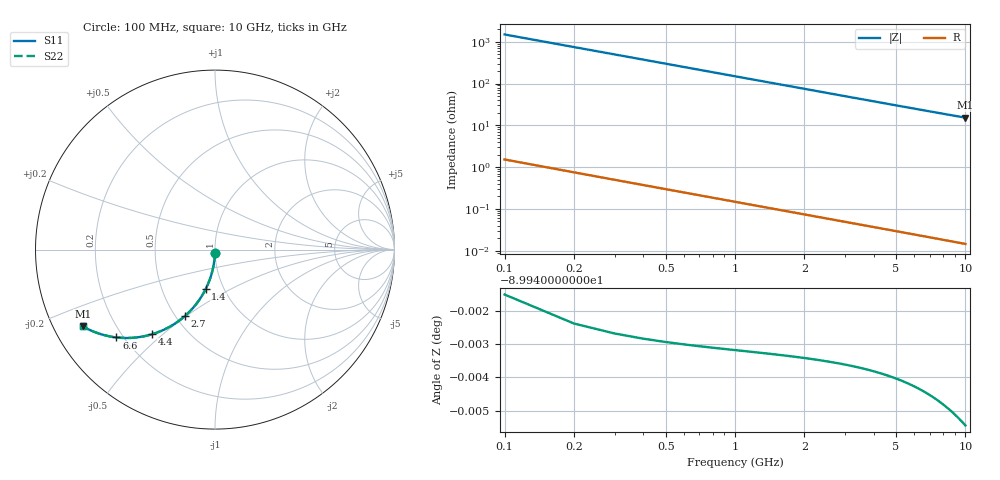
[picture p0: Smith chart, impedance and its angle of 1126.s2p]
# Hz S RI R 50.00
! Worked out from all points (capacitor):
!   100 points, 100 MHz to 10 GHz, reference 50 ohm
!   read as one part in shunt: C = 1.07 pF near 100 MHz
!   lowest |Z| = 15.2 ohm at 10 GHz (marker M1)
!   S11 on the Smith chart (normalised r, x): 100 MHz: 1.00, -0.03; 1.4 GHz: 0.82, -0.38; 2.7 GHz: 0.55, -0.49; 4.4 GHz: 0.32, -0.46; 6.6 GHz: 0.17, -0.37; 10 GHz: 0.09, -0.27
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1e8  -0.000276 -0.0166  0.9997 -0.0169  0.9997 -0.0169  -0.000276 -0.0166
2e8  -0.00113 -0.0332  0.9988 -0.0337  0.9988 -0.0337  -0.00113 -0.0332
3e8  -0.00255 -0.0498  0.9974 -0.0505  0.9974 -0.0505  -0.00255 -0.0498
4e8  -0.00452 -0.0663  0.9954 -0.0672  0.9954 -0.0672  -0.00452 -0.0663
5e8  -0.00703 -0.0826  0.9929 -0.0838  0.9929 -0.0838  -0.00703 -0.0826
6e8  -0.0101 -0.0988  0.9899 -0.1002  0.9899 -0.1002  -0.0101 -0.0988
7e8  -0.0137 -0.1149  0.9863 -0.1165  0.9863 -0.1165  -0.0137 -0.1149
9e8  -0.0223 -0.1464  0.9776 -0.1484  0.9776 -0.1484  -0.0223 -0.1464
1.1e9  -0.033 -0.1769  0.967 -0.1794  0.967 -0.1794  -0.033 -0.1769
1.4e9  -0.0523 -0.2206  0.9476 -0.2238  0.9476 -0.2238  -0.0523 -0.2206
1.8e9  -0.0835 -0.2741  0.9164 -0.2783  0.9164 -0.2783  -0.0835 -0.2741
2.2e9  -0.1197 -0.3216  0.8802 -0.3267  0.8802 -0.3267  -0.1197 -0.3216
2.7e9  -0.1698 -0.3719  0.8301 -0.3782  0.8301 -0.3782  -0.1698 -0.3719
3.4e9  -0.2447 -0.4255  0.7552 -0.4334  0.7552 -0.4334  -0.2447 -0.4255
4.4e9  -0.3514 -0.4718  0.6485 -0.4821  0.6485 -0.4821  -0.3514 -0.4718
5.1e9  -0.4211 -0.4872  0.5788 -0.4993  0.5788 -0.4993  -0.4211 -0.4872
5.8e9  -0.4846 -0.4924  0.5153 -0.5061  0.5153 -0.5061  -0.4846 -0.4924
6.6e9  -0.5489 -0.4892  0.4509 -0.5049  0.4509 -0.5049  -0.5489 -0.4892
6.7e9  -0.5563 -0.4883  0.4435 -0.5043  0.4435 -0.5043  -0.5563 -0.4883
7.5e9  -0.611 -0.478  0.3888 -0.496  0.3888 -0.496  -0.611 -0.478
8.4e9  -0.6633 -0.4619  0.3364 -0.4821  0.3364 -0.4821  -0.6633 -0.4619
1e10  -0.7364 -0.4279  0.2632 -0.4521  0.2632 -0.4521  -0.7364 -0.4279
